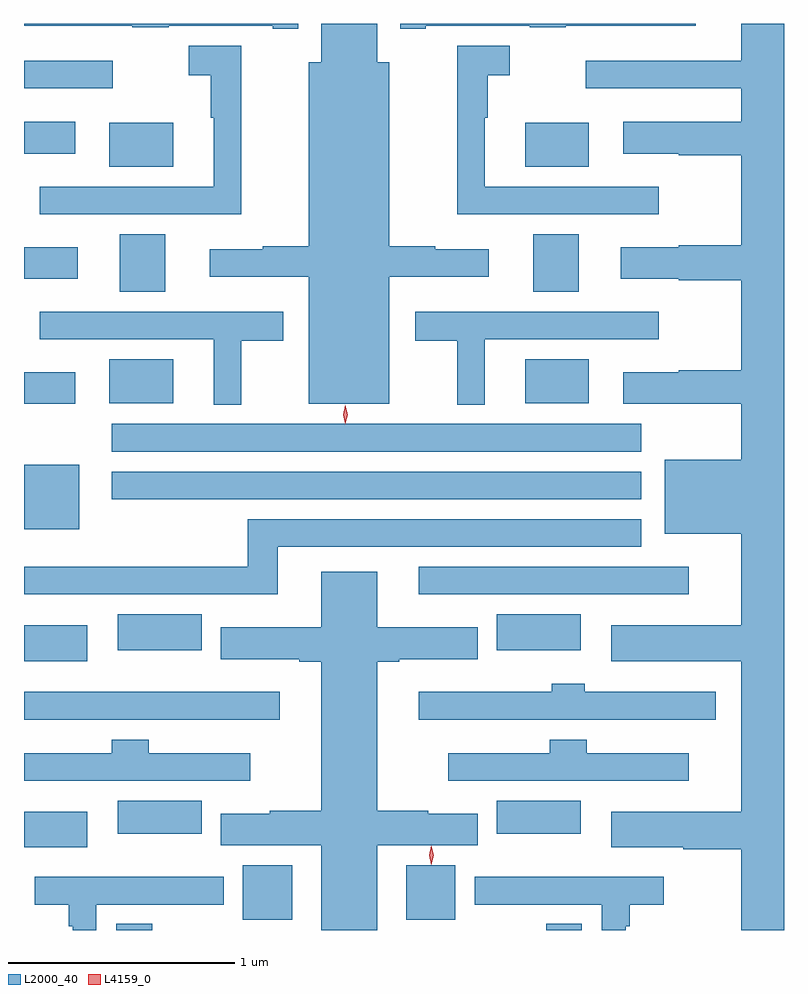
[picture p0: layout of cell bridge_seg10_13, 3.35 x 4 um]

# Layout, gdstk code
import gdstk
lib = gdstk.Library(unit=1e-6, precision=1e-09)
def R(c, l, rs):  # rectangles x0, y0, x1, y1
    for r in rs: c.add(gdstk.rectangle(r[:2], r[2:], *l))
def P(c, l, *ps):  # polygons
    for p in ps: c.add(gdstk.Polygon(p, *l))
L2000_40 = (2000, 40)
L4159_0 = (4159, 0)

bridge_seg10_13 = lib.new_cell('bridge_seg10_13')
R(bridge_seg10_13, L2000_40, [(1055.573,1276.088,1055.731,1276.117), (1057.469,1276.088,1057.627,1276.117), (1056.131,1276.136,1056.349,1276.375), (1056.851,1276.136,1057.069,1276.375), (1055.166,1276.454,1055.446,1276.612), (1055.58,1276.514,1055.949,1276.66), (1057.252,1276.514,1057.621,1276.66), (1055.166,1277.018,1056.295,1277.14), (1055.166,1277.276,1055.446,1277.434), (1055.58,1277.324,1055.949,1277.482), (1057.252,1277.324,1057.621,1277.482), (1056.906,1277.57,1058.098,1277.692), (1055.166,1277.858,1055.41,1278.142), (1055.553,1277.99,1057.888,1278.112), (1055.553,1278.2,1057.888,1278.322), (1055.166,1278.41,1055.392,1278.55), (1055.543,1278.413,1055.824,1278.607), (1057.376,1278.413,1057.657,1278.607), (1055.588,1278.905,1055.788,1279.159), (1057.412,1278.905,1057.612,1279.159), (1055.166,1278.962,1055.404,1279.102), (1055.543,1279.457,1055.824,1279.651), (1057.376,1279.457,1057.657,1279.651), (1055.166,1279.514,1055.392,1279.654), (1055.166,1279.802,1055.557,1279.924)])
P(bridge_seg10_13, L2000_40, [(1056.937,1280.078),(1057.396,1280.078),(1057.396,1280.071),(1057.556,1280.071),(1057.556,1280.078),(1058.128,1280.078),(1058.128,1280.088),(1056.825,1280.088),(1056.825,1280.066),(1056.937,1280.066)],
  [(1056.376,1280.088),(1055.166,1280.088),(1055.166,1280.078),(1055.644,1280.078),(1055.644,1280.071),(1055.804,1280.071),(1055.804,1280.078),(1056.263,1280.078),(1056.263,1280.066),(1056.376,1280.066)],
  [(1058.518,1280.088),(1058.33,1280.088),(1058.33,1279.924),(1057.644,1279.924),(1057.644,1279.802),(1058.33,1279.802),(1058.33,1279.654),(1057.809,1279.654),(1057.809,1279.514),(1058.053,1279.514),(1058.053,1279.507),(1058.33,1279.507),(1058.33,1279.11),(1058.053,1279.11),(1058.053,1279.102),(1057.797,1279.102),(1057.797,1278.962),(1058.053,1278.962),(1058.053,1278.955),(1058.33,1278.955),(1058.33,1278.558),(1058.053,1278.558),(1058.053,1278.55),(1057.809,1278.55),(1057.809,1278.41),(1058.33,1278.41),(1058.33,1278.163),(1057.991,1278.163),(1057.991,1277.837),(1058.33,1277.837),(1058.33,1277.434),(1057.755,1277.434),(1057.755,1277.276),(1058.33,1277.276),(1058.33,1276.612),(1057.755,1276.612),(1057.755,1276.454),(1058.074,1276.454),(1058.074,1276.447),(1058.33,1276.447),(1058.33,1276.088),(1058.518,1276.088)],
  [(1056.778,1278.971),(1057.216,1278.971),(1057.216,1279.093),(1056.98,1279.093),(1056.98,1279.106),(1056.778,1279.106),(1056.778,1279.918),(1056.724,1279.918),(1056.724,1280.088),(1056.476,1280.088),(1056.476,1279.918),(1056.422,1279.918),(1056.422,1279.106),(1056.22,1279.106),(1056.22,1279.093),(1055.985,1279.093),(1055.985,1278.971),(1056.422,1278.971),(1056.422,1278.41),(1056.778,1278.41)],
  [(1056.124,1279.99),(1055.892,1279.99),(1055.892,1279.861),(1055.99,1279.861),(1055.99,1279.672),(1056.002,1279.672),(1056.002,1279.369),(1055.235,1279.369),(1055.235,1279.247),(1056.124,1279.247)],
  [(1057.966,1279.369),(1057.198,1279.369),(1057.198,1279.672),(1057.211,1279.672),(1057.211,1279.861),(1057.309,1279.861),(1057.309,1279.99),(1057.076,1279.99),(1057.076,1279.247),(1057.966,1279.247)],
  [(1056.124,1278.688),(1056.31,1278.688),(1056.31,1278.817),(1055.235,1278.817),(1055.235,1278.695),(1056.002,1278.695),(1056.002,1278.407),(1056.124,1278.407)],
  [(1057.198,1278.695),(1057.966,1278.695),(1057.966,1278.817),(1056.891,1278.817),(1056.891,1278.688),(1057.076,1278.688),(1057.076,1278.407),(1057.198,1278.407)],
  [(1056.286,1277.78),(1057.888,1277.78),(1057.888,1277.902),(1056.152,1277.902),(1056.152,1277.692),(1055.166,1277.692),(1055.166,1277.57),(1056.286,1277.57)],
  [(1056.724,1276.463),(1057.167,1276.463),(1057.167,1276.603),(1056.95,1276.603),(1056.95,1276.616),(1056.724,1276.616),(1056.724,1277.273),(1056.82,1277.273),(1056.82,1277.285),(1057.167,1277.285),(1057.167,1277.425),(1056.724,1277.425),(1056.724,1277.671),(1056.476,1277.671),(1056.476,1277.425),(1056.034,1277.425),(1056.034,1277.285),(1056.38,1277.285),(1056.38,1277.273),(1056.476,1277.273),(1056.476,1276.616),(1056.25,1276.616),(1056.25,1276.603),(1056.034,1276.603),(1056.034,1276.463),(1056.476,1276.463),(1056.476,1276.088),(1056.724,1276.088)],
  [(1058.218,1277.14),(1057.64,1277.14),(1057.64,1277.176),(1057.493,1277.176),(1057.493,1277.14),(1056.906,1277.14),(1056.906,1277.018),(1058.218,1277.018)],
  [(1056.163,1276.87),(1055.717,1276.87),(1055.717,1276.93),(1055.552,1276.93),(1055.552,1276.87),(1055.166,1276.87),(1055.166,1276.748),(1056.163,1276.748)],
  [(1058.098,1276.87),(1057.649,1276.87),(1057.649,1276.93),(1057.484,1276.93),(1057.484,1276.87),(1057.038,1276.87),(1057.038,1276.748),(1058.098,1276.748)],
  [(1055.485,1276.202),(1056.046,1276.202),(1056.046,1276.324),(1055.214,1276.324),(1055.214,1276.202),(1055.364,1276.202),(1055.364,1276.106),(1055.381,1276.106),(1055.381,1276.088),(1055.485,1276.088)],
  [(1057.819,1276.106),(1057.837,1276.106),(1057.837,1276.202),(1057.987,1276.202),(1057.987,1276.324),(1057.154,1276.324),(1057.154,1276.202),(1057.715,1276.202),(1057.715,1276.088),(1057.819,1276.088)])
P(bridge_seg10_13, L4159_0, [(1056.963,1276.378),(1056.963,1276.378),(1056.953,1276.419),(1056.962,1276.461),(1056.962,1276.461),(1056.963,1276.461),(1056.973,1276.419),(1056.963,1276.378)],
  [(1056.583,1278.321),(1056.583,1278.322),(1056.573,1278.363),(1056.583,1278.404),(1056.583,1278.404),(1056.583,1278.404),(1056.593,1278.363),(1056.583,1278.322)])

lib.write_gds('bridge_seg10_13.gds')
